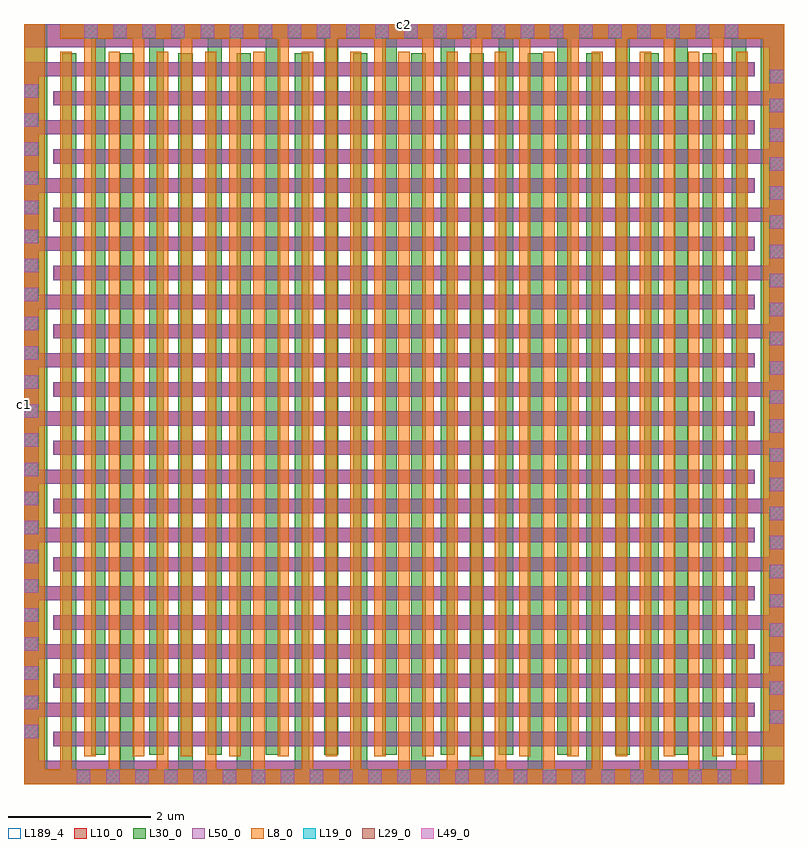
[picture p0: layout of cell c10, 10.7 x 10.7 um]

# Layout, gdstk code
import gdstk
lib = gdstk.Library(unit=1e-6, precision=1e-09)
def R(c, l, rs):  # rectangles x0, y0, x1, y1
    for r in rs: c.add(gdstk.rectangle(r[:2], r[2:], *l))
def A(c, l, x, y, w, h, nx, ny, dx, dy):  # array of equal rectangles
    R(c, l, [(x+i*dx, y+j*dy, x+i*dx+w, y+j*dy+h) for i in range(nx) for j in range(ny)])
L8_0 = (8, 0)
L10_0 = (10, 0)
L19_0 = (19, 0)
L29_0 = (29, 0)
L30_0 = (30, 0)
L49_0 = (49, 0)
L50_0 = (50, 0)
L189_4 = (189, 4)

c10 = lib.new_cell('c10')
A(c10, L8_0, 0.51, 0.21, 0.16, 10.1, 15, 1, 0.68, 0)
A(c10, L8_0, 0.85, 0.39, 0.16, 10.1, 14, 1, 0.68, 0)
R(c10, L8_0, [(0,0,10.19,0.21), (10.41,0,10.7,10.49), (0,0.21,0.29,10.7), (0.51,10.49,10.7,10.7)])
A(c10, L10_0, 0, 0.325, 0.205, 0.62, 1, 12, 0, 0.82)
A(c10, L10_0, 0.42, 0.535, 10.28, 0.2, 1, 12, 0, 0.82)
A(c10, L10_0, 10.495, 0.735, 0.205, 0.62, 1, 12, 0, 0.82)
A(c10, L10_0, 0, 0.945, 10.28, 0.2, 1, 12, 0, 0.82)
R(c10, L10_0, [(0,0,10.7,0.325), (0,10.375,10.7,10.7)])
A(c10, L19_0, 0.745, 0.01, 0.19, 0.19, 23, 1, 0.41, 0)
A(c10, L19_0, 0.01, 0.645, 0.19, 0.19, 1, 23, 0, 0.41)
A(c10, L19_0, 10.5, 0.845, 0.19, 0.19, 1, 23, 0, 0.41)
A(c10, L19_0, 0.845, 10.5, 0.19, 0.19, 23, 1, 0.41, 0)
A(c10, L29_0, 0.745, 0.005, 0.19, 0.19, 23, 1, 0.41, 0)
A(c10, L29_0, 0.005, 0.645, 0.19, 0.19, 1, 23, 0, 0.41)
A(c10, L29_0, 10.505, 0.845, 0.19, 0.19, 1, 23, 0, 0.41)
A(c10, L29_0, 0.845, 10.505, 0.19, 0.19, 23, 1, 0.41, 0)
A(c10, L30_0, 0.535, 0.2, 0.2, 10.09, 12, 1, 0.82, 0)
A(c10, L30_0, 0.945, 0.41, 0.2, 10.09, 12, 1, 0.82, 0)
R(c10, L30_0, [(0,0,10.165,0.2), (10.375,0,10.7,10.5), (0,0.2,0.325,10.7), (0.535,10.5,10.7,10.7)])
A(c10, L49_0, 0.745, 0.005, 0.19, 0.19, 23, 1, 0.41, 0)
A(c10, L49_0, 0.005, 0.645, 0.19, 0.19, 1, 23, 0, 0.41)
A(c10, L49_0, 10.505, 0.845, 0.19, 0.19, 1, 23, 0, 0.41)
A(c10, L49_0, 0.845, 10.505, 0.19, 0.19, 23, 1, 0.41, 0)
A(c10, L50_0, 0, 0.325, 0.2, 0.62, 1, 12, 0, 0.82)
A(c10, L50_0, 0.41, 0.535, 10.29, 0.2, 1, 12, 0, 0.82)
A(c10, L50_0, 10.5, 0.735, 0.2, 0.62, 1, 12, 0, 0.82)
A(c10, L50_0, 0, 0.945, 10.29, 0.2, 1, 12, 0, 0.82)
R(c10, L50_0, [(0,0,10.7,0.325), (0,10.375,10.7,10.7)])
R(c10, L189_4, [(0,0,10.7,10.7)])
c10.add(gdstk.Label('c1', (0.01,5.35), layer=50, texttype=25))
c10.add(gdstk.Label('c2', (5.35,10.69), layer=50, texttype=25))

lib.write_gds('c10.gds')
